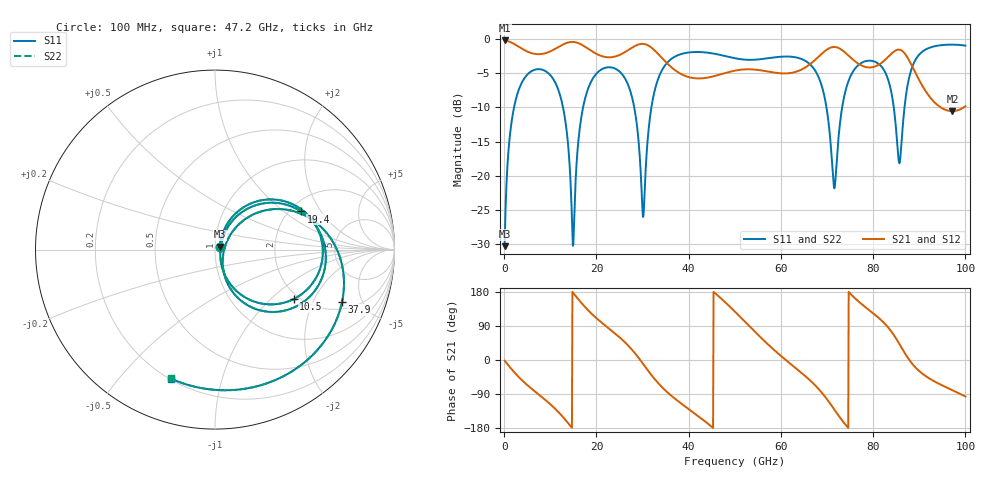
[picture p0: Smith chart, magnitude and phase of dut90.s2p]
! Touchstone file exported from HFSS 2026.1.0
!  File:  C:/ffzhzh/LocalFiles/Ansys_Project_Files/temp_train_TSV_RDL_90_1783453042_7600.aedt
!  Generated:  03:55:00 AM Jul  8, 2026
!  Design:  TSV_RDL
!  Project:  temp_train_TSV_RDL_90_1783453042_7600
! Variables:
!  h_bsmrdl = 3.08um
!  h_ox = 20um
!  h_rdl = 5um
!  h_sub = 71.12um
!  h_tmrdl = 3.97um
!  h_tsv = 71.12um
!  h_via = 3um
!  l_bsmrdl = 673.14um
!  l_sub = 4052.1um
!  l_tmrdl = 377.96um
!  m_sub = 200um
!  pitch = 55.3um
!  r_tsv = 13.1um
!  s_tmrdl = 10um
!  w_bsmrdl = 11.5um
!  w_sub = 500um
!  w_tmrdl = 28.78um
!  x_tsv_center1 = 392.35um
!  x_tsv_center2 = 1076.99um
!  x_tsv_center3 = 1483.73um
!  x_tsv_center4 = 2168.37um
!  x_tsv_center5 = 2575.11um
!  x_tsv_center6 = 3259.75um
# GHz S MA R 50.000000
! Terminal data exported
! Port[1] = TM_RDL1_1_T1
! Port[2] = TM_RDL5_1_T1
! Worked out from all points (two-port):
!   1000 points, 100 MHz to 100 GHz, reference 50 ohm
!   highest |S21| = -0.22 dB at 100 MHz (marker M1); lowest = -10.6 dB at 97.2 GHz (marker M2)
!   |S21| within 3 dB of the highest: start of sweep to 34.83 GHz; 67.15 GHz to 75.99 GHz (8.84 GHz wide, 12.4 % of centre) (the widest 2 of 3)
!   lowest |S11| = -30.3 dB at 100 MHz (marker M3), VSWR 1.06, Z = 52.6 + j1.73 ohm
!   |S11| at or under -10 dB: 12.76 GHz to 17.11 GHz (4.349 GHz wide, 29.1 % of centre); 28.2 GHz to 31.93 GHz (3.724 GHz wide, 12.4 % of centre); 69.88 GHz to 73.28 GHz (3.401 GHz wide, 4.75 % of centre) (the widest 3 of 5)
!   |S22| runs from -30.3 to -0.8 dB; largest |S21 - S12| = 1.6e-14
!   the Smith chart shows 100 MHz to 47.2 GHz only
!   S11 on the Smith chart (normalised r, x): 100 MHz: 1.05, +0.03; 10.5 GHz: 1.87, -1.41; 19.4 GHz: 2.29, +1.34; 37.9 GHz: 2.43, -3.42; 47.2 GHz: 0.20, -0.69
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0.1  0.03059 32.5  0.9745 -1.6  0.9745 -1.6  0.03059 32.5
! Gamma 0 0 0 0
! Port Impedance 50 0 50 0
3  0.4088 43.1  0.8838 -42.8  0.8838 -42.8  0.4088 43.1
10.5  0.5176 -32.2  0.8263 -122.2  0.8263 -122.2  0.5176 -32.2
14.9  0.03077 -15.0  0.9507 178.0  0.9507 178.0  0.0306 -15.1
16.8  0.2772 52.7  0.9071 149.8  0.9071 149.8  0.2772 52.7
19.4  0.5245 23.9  0.7986 117.0  0.7986 117.0  0.5244 23.9
26.8  0.4681 -47.9  0.8247 39.3  0.8247 39.3  0.4681 -47.9
30.1  0.04998 -18.7  0.9203 -9.8  0.9203 -9.8  0.05078 -18.6
33.4  0.5121 23.4  0.7757 -61.0  0.7757 -61.0  0.5122 23.3
37.9  0.7657 -22.4  0.5653 -110.3  0.5653 -110.3  0.7657 -22.5
47.2  0.7594 -109.0  0.5545 160.5  0.5545 160.5  0.7595 -109.0
50.1  0.7221 -142.5  0.5872 126.8  0.5872 126.8  0.7222 -142.6
59.2  0.7372 108.9  0.5639 19.3  0.5639 19.3  0.7372 108.9
66.7  0.6326 35.2  0.6697 -58.1  0.6697 -58.1  0.6324 35.1
71.5  0.08236 39.2  0.8735 -129.2  0.8735 -129.2  0.08082 39.1
73.5  0.3489 94.9  0.8172 -162.9  0.8172 -162.9  0.3488 95.1
77.4  0.6663 56.2  0.6416 148.6  0.6416 148.6  0.6664 56.2
83.4  0.4856 2.6  0.7475 83.8  0.7475 83.8  0.4857 2.5
85.6  0.1253 30.7  0.8353 44.2  0.8353 44.2  0.1241 30.5
87  0.3618 84.5  0.7713 15.4  0.7713 15.4  0.3612 84.7
97.2  0.9086 10.3  0.2967 -79.6  0.2967 -79.6  0.9087 10.2
100  0.8931 -4.0  0.3226 -96.3  0.3226 -96.3  0.8931 -4.1
